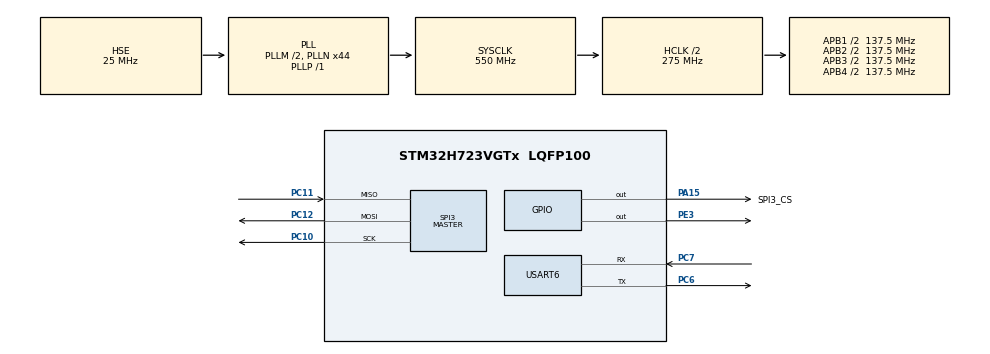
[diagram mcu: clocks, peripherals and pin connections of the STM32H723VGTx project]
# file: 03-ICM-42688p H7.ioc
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CORTEX_M7.default_mode_Activation=1
Mcu.Family=STM32H7
Mcu.Name=STM32H723VGTx
Mcu.Package=LQFP100
NVIC.PriorityGroup=NVIC_PRIORITYGROUP_4
NVIC.USART6_IRQn=true\:0\:0\:false\:false\:true\:true\:true\:true
PA15(JTDI).GPIO_Label=SPI3_CS
PA15(JTDI).PinState=GPIO_PIN_SET
PA15(JTDI).Signal=GPIO_Output
PC10.Mode=Full_Duplex_Master
PC10.Signal=SPI3_SCK
PC11.Mode=Full_Duplex_Master
PC11.Signal=SPI3_MISO
PC12.Mode=Full_Duplex_Master
PC12.Signal=SPI3_MOSI
PC6.Mode=Asynchronous
PC6.Signal=USART6_TX
PC7.Mode=Asynchronous
PC7.Signal=USART6_RX
PE3.Signal=GPIO_Output
PH0-OSC_IN.Mode=HSE-External-Oscillator
PH0-OSC_IN.Signal=RCC_OSC_IN
PH1-OSC_OUT.Mode=HSE-External-Oscillator
PH1-OSC_OUT.Signal=RCC_OSC_OUT
ProjectManager.HeapSize=0x200
ProjectManager.StackSize=0x400
ProjectManager.TargetToolchain=STM32CubeIDE
RCC.ADCFreq_Value=50390625
RCC.APB1Freq_Value=137500000
RCC.APB2Freq_Value=137500000
RCC.APB3Freq_Value=137500000
RCC.APB4Freq_Value=137500000
RCC.CortexFreq_Value=550000000
RCC.D1PPRE=RCC_APB3_DIV2
RCC.D2PPRE1=RCC_APB1_DIV2
RCC.D2PPRE2=RCC_APB2_DIV2
RCC.D3PPRE=RCC_APB4_DIV2
RCC.DIVM1=2
RCC.DIVN1=44
RCC.DIVP1=1
RCC.DIVQ1=3
RCC.HCLKFreq_Value=275000000
RCC.HPRE=RCC_HCLK_DIV2
RCC.PLL2FRACN=0
RCC.PLL3FRACN=0
RCC.PLLFRACN=0
RCC.PLLSourceVirtual=RCC_PLLSOURCE_HSE
RCC.SYSCLKFreq_VALUE=550000000
RCC.SYSCLKSource=RCC_SYSCLKSOURCE_PLLCLK
RCC.USBFreq_Value=183333333.33333334
SPI3.BaudRatePrescaler=SPI_BAUDRATEPRESCALER_16
SPI3.CLKPhase=SPI_PHASE_2EDGE
SPI3.CLKPolarity=SPI_POLARITY_HIGH
SPI3.CalculateBaudRate=11.458333 MBits/s
SPI3.DataSize=SPI_DATASIZE_8BIT
SPI3.Direction=SPI_DIRECTION_2LINES
SPI3.Mode=SPI_MODE_MASTER
SPI3.VirtualType=VM_MASTER
USART6.VirtualMode=VM_ASYNC
VP_MEMORYMAP_VS_MEMORYMAP.Mode=CurAppReg
board=custom

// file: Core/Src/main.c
/* USER CODE BEGIN Header */
/**
  ******************************************************************************
  * @file           : main.c
  * @brief          : Main program body
  ******************************************************************************
  * @attention
  *
  * Copyright (c) 2025 STMicroelectronics.
  * All rights reserved.
  *
  * This software is licensed under terms that can be found in the LICENSE file
  * in the root directory of this software component.
  * If no LICENSE file comes with this software, it is provided AS-IS.
  *
  ******************************************************************************
  */
/* USER CODE END Header */
#include "main.h"
#include "spi.h"
#include "usart.h"
#include "gpio.h"

/* USER CODE BEGIN Includes */
#include "icm42688p.h"
/* USER CODE END Includes */

/* USER CODE BEGIN PTD */

/* **** USART6 printf function code ***** */

int _write(int file, char* p, int len)
{
    for (int i = 0; i < len; i++) {
        while (!LL_USART_IsActiveFlag_TXE(USART6)) {
            if (LL_USART_IsActiveFlag_ORE(USART6) || LL_USART_IsActiveFlag_FE(USART6)) {
                LL_USART_ClearFlag_ORE(USART6);
                LL_USART_ClearFlag_FE(USART6);
                return -1; // Indicate error
            }
        }
        LL_USART_TransmitData8(USART6, *(p + i));
    }
    while (!LL_USART_IsActiveFlag_TC(USART6)) {}
    return len;
}

/* **** USART6 printf function code ***** */

/* USER CODE END PTD */

/* USER CODE BEGIN PD */

extern SPI_HandleTypeDef hspi1;
ICM42688P_HandleTypeDef hicm;

int16_t accel[3], gyro[3];

ICM42688P_Data_t sensor;
/* USER CODE END PD */

void SystemClock_Config(void);
static void MPU_Config(void);

int main(void)
{

  /* MPU Configuration--------------------------------------------------------*/
  MPU_Config();

  /* MCU Configuration--------------------------------------------------------*/

  /* Reset of all peripherals, Initializes the Flash interface and the Systick. */
  HAL_Init();

  /* Configure the system clock */
  SystemClock_Config();

  /* Initialize all configured peripherals */
  MX_GPIO_Init();
  MX_SPI3_Init();
  MX_USART6_UART_Init();
  /* USER CODE BEGIN 2 */

  LL_USART_EnableIT_RXNE(USART6);

  HAL_GPIO_WritePin(GPIOA, GPIO_PIN_15, GPIO_PIN_SET);

  printf("\r\n=== ICM42688P SPI Driver Test ===\r\n");

//  HAL_Delay(100);

  // Init sensor
  ICM42688P_Init(&hicm, &hspi3);

  HAL_Delay(100);

  /* USER CODE END 2 */

  /* Infinite loop */
  while (1)
  {

    /* USER CODE BEGIN 3 */

	  ICM42688P_ReadData(&hicm, &sensor);

	  printf("ACCEL: X = %.2f, Y = %.2f, Z =  %.2f | GYRO: X = %.2f, Y = %.2f, Z =  %.2f | TEMP: %.2f°C\r\n",
			  sensor.accel[0], sensor.accel[1], sensor.accel[2],
			  sensor.gyro[0], sensor.gyro[1], sensor.gyro[2],
			  sensor.temperature);

	  HAL_Delay(1);
  }
  /* USER CODE END 3 */
}

void SystemClock_Config(void)
{
  RCC_OscInitTypeDef RCC_OscInitStruct = {0};
  RCC_ClkInitTypeDef RCC_ClkInitStruct = {0};

  /** Supply configuration update enable
  */
  HAL_PWREx_ConfigSupply(PWR_LDO_SUPPLY);

  /** Configure the main internal regulator output voltage
  */
  __HAL_PWR_VOLTAGESCALING_CONFIG(PWR_REGULATOR_VOLTAGE_SCALE0);

  while(!__HAL_PWR_GET_FLAG(PWR_FLAG_VOSRDY)) {}

  /** Initializes the RCC Oscillators according to the specified parameters
  * in the RCC_OscInitTypeDef structure.
  */
  RCC_OscInitStruct.OscillatorType = RCC_OSCILLATORTYPE_HSE;
  RCC_OscInitStruct.HSEState = RCC_HSE_ON;
  RCC_OscInitStruct.PLL.PLLState = RCC_PLL_ON;
  RCC_OscInitStruct.PLL.PLLSource = RCC_PLLSOURCE_HSE;
  RCC_OscInitStruct.PLL.PLLM = 2;
  RCC_OscInitStruct.PLL.PLLN = 44;
  RCC_OscInitStruct.PLL.PLLP = 1;
  RCC_OscInitStruct.PLL.PLLQ = 3;
  RCC_OscInitStruct.PLL.PLLR = 2;
  RCC_OscInitStruct.PLL.PLLRGE = RCC_PLL1VCIRANGE_3;
  RCC_OscInitStruct.PLL.PLLVCOSEL = RCC_PLL1VCOWIDE;
  RCC_OscInitStruct.PLL.PLLFRACN = 0;
  if (HAL_RCC_OscConfig(&RCC_OscInitStruct) != HAL_OK)
  {
    Error_Handler();
  }

  /** Initializes the CPU, AHB and APB buses clocks
  */
  RCC_ClkInitStruct.ClockType = RCC_CLOCKTYPE_HCLK|RCC_CLOCKTYPE_SYSCLK
                              |RCC_CLOCKTYPE_PCLK1|RCC_CLOCKTYPE_PCLK2
                              |RCC_CLOCKTYPE_D3PCLK1|RCC_CLOCKTYPE_D1PCLK1;
  RCC_ClkInitStruct.SYSCLKSource = RCC_SYSCLKSOURCE_PLLCLK;
  RCC_ClkInitStruct.SYSCLKDivider = RCC_SYSCLK_DIV1;
  RCC_ClkInitStruct.AHBCLKDivider = RCC_HCLK_DIV2;
  RCC_ClkInitStruct.APB3CLKDivider = RCC_APB3_DIV2;
  RCC_ClkInitStruct.APB1CLKDivider = RCC_APB1_DIV2;
  RCC_ClkInitStruct.APB2CLKDivider = RCC_APB2_DIV2;
  RCC_ClkInitStruct.APB4CLKDivider = RCC_APB4_DIV2;

  if (HAL_RCC_ClockConfig(&RCC_ClkInitStruct, FLASH_LATENCY_3) != HAL_OK)
  {
    Error_Handler();
  }
}

 /* MPU Configuration */

void MPU_Config(void)
{
  MPU_Region_InitTypeDef MPU_InitStruct = {0};

  /* Disables the MPU */
  HAL_MPU_Disable();

  /** Initializes and configures the Region and the memory to be protected
  */
  MPU_InitStruct.Enable = MPU_REGION_ENABLE;
  MPU_InitStruct.Number = MPU_REGION_NUMBER0;
  MPU_InitStruct.BaseAddress = 0x0;
  MPU_InitStruct.Size = MPU_REGION_SIZE_4GB;
  MPU_InitStruct.SubRegionDisable = 0x87;
  MPU_InitStruct.TypeExtField = MPU_TEX_LEVEL0;
  MPU_InitStruct.AccessPermission = MPU_REGION_NO_ACCESS;
  MPU_InitStruct.DisableExec = MPU_INSTRUCTION_ACCESS_DISABLE;
  MPU_InitStruct.IsShareable = MPU_ACCESS_SHAREABLE;
  MPU_InitStruct.IsCacheable = MPU_ACCESS_NOT_CACHEABLE;
  MPU_InitStruct.IsBufferable = MPU_ACCESS_NOT_BUFFERABLE;

  HAL_MPU_ConfigRegion(&MPU_InitStruct);
  /* Enables the MPU */
  HAL_MPU_Enable(MPU_PRIVILEGED_DEFAULT);

}

void Error_Handler(void)
{
  __disable_irq();
  while (1)
  {
  }
}
